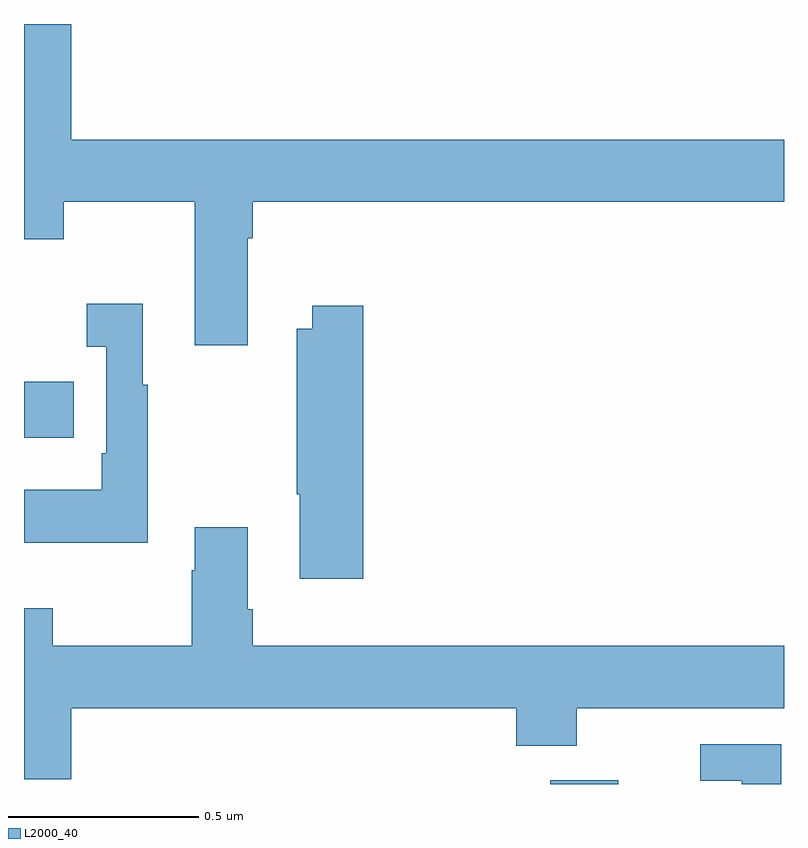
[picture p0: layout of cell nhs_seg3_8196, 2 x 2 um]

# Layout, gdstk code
import gdstk
lib = gdstk.Library(unit=1e-6, precision=1e-09)
def R(c, l, rs):  # rectangles x0, y0, x1, y1
    for r in rs: c.add(gdstk.rectangle(r[:2], r[2:], *l))
def P(c, l, *ps):  # polygons
    for p in ps: c.add(gdstk.Polygon(p, *l))
L2000_40 = (2000, 40)

nhs_seg3_8196 = lib.new_cell('nhs_seg3_8196')
R(nhs_seg3_8196, L2000_40, [(214.385,683.4,214.564,683.41), (213,684.311,213.131,684.459)])
P(nhs_seg3_8196, L2000_40, [(213.589,684.836),(213.602,684.836),(213.602,684.932),(215,684.932),(215,685.096),(213.124,685.096),(213.124,685.4),(213,685.4),(213,684.833),(213.105,684.833),(213.105,684.932),(213.449,684.932),(213.449,684.555),(213.589,684.555)],
  [(213.325,684.451),(213.313,684.451),(213.313,684.664),(213.165,684.664),(213.165,684.551),(213.216,684.551),(213.216,684.271),(213.204,684.271),(213.204,684.175),(213,684.175),(213,684.035),(213.325,684.035)],
  [(213.893,684.658),(213.758,684.658),(213.758,684.598),(213.718,684.598),(213.718,684.163),(213.725,684.163),(213.725,683.94),(213.893,683.94)],
  [(213.124,683.6),(214.295,683.6),(214.295,683.501),(214.455,683.501),(214.455,683.6),(215,683.6),(215,683.764),(213.602,683.764),(213.602,683.86),(213.589,683.86),(213.589,684.076),(213.449,684.076),(213.449,683.963),(213.442,683.963),(213.442,683.764),(213.075,683.764),(213.075,683.863),(213,683.863),(213,683.412),(213.124,683.412)],
  [(214.993,683.505),(214.779,683.505),(214.779,683.409),(214.889,683.409),(214.889,683.4),(214.993,683.4)])

lib.write_gds('nhs_seg3_8196.gds')
